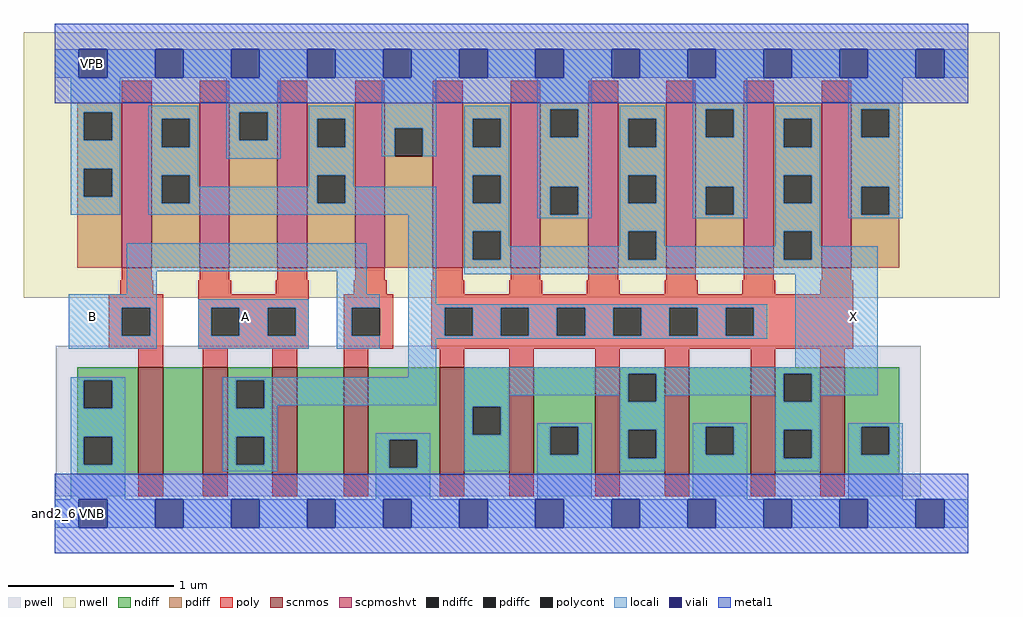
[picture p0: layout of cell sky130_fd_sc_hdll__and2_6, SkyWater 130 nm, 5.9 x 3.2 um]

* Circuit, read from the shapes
.subckt sky130_fd_sc_hdll__and2_6 A B VGND VNB VPB VPWR X
XM1 n1 B VGND VNB sky130_fd_pr__nfet_01v8 w=0.65 l=0.15
XM2 n2 A n1 VNB sky130_fd_pr__nfet_01v8 w=0.65 l=0.15
XM3 n3 A n2 VNB sky130_fd_pr__nfet_01v8 w=0.65 l=0.15
XM4 VGND B n3 VNB sky130_fd_pr__nfet_01v8 w=0.65 l=0.15
XM5 X n2 VGND VNB sky130_fd_pr__nfet_01v8 w=0.65 l=0.15 m=6
XM6 n2 B VPWR VPB sky130_fd_pr__pfet_01v8_hvt w=1 l=0.18 m=2
XM7 VPWR A n2 VPB sky130_fd_pr__pfet_01v8_hvt w=1 l=0.18 m=2
XM8 X n2 VPWR VPB sky130_fd_pr__pfet_01v8_hvt w=1 l=0.18 m=6
.ends

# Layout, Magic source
magic
tech sky130A
magscale 1 2
<< nwell >>
rect -38 261 1142 582
<< pwell >>
rect 1 21 1047 203
rect 29 -17 63 21
<< scnmos >>
rect 101 47 131 177
rect 179 47 209 177
rect 263 47 293 177
rect 349 47 379 177
rect 465 47 495 177
rect 549 47 579 177
rect 653 47 683 177
rect 737 47 767 177
rect 841 47 871 177
rect 925 47 955 177
<< scpmoshvt >>
rect 81 297 117 497
rect 175 297 211 497
rect 269 297 305 497
rect 363 297 399 497
rect 457 297 493 497
rect 551 297 587 497
rect 645 297 681 497
rect 739 297 775 497
rect 833 297 869 497
rect 927 297 963 497
<< ndiff >>
rect 27 161 101 177
rect 27 127 35 161
rect 69 127 101 161
rect 27 93 101 127
rect 27 59 35 93
rect 69 59 101 93
rect 27 47 101 59
rect 131 47 179 177
rect 209 161 263 177
rect 209 127 219 161
rect 253 127 263 161
rect 209 93 263 127
rect 209 59 219 93
rect 253 59 263 93
rect 209 47 263 59
rect 293 47 349 177
rect 379 89 465 177
rect 379 55 404 89
rect 438 55 465 89
rect 379 47 465 55
rect 495 129 549 177
rect 495 95 505 129
rect 539 95 549 129
rect 495 47 549 95
rect 579 105 653 177
rect 579 71 599 105
rect 633 71 653 105
rect 579 47 653 71
rect 683 169 737 177
rect 683 135 693 169
rect 727 135 737 169
rect 683 101 737 135
rect 683 67 693 101
rect 727 67 737 101
rect 683 47 737 67
rect 767 105 841 177
rect 767 71 787 105
rect 821 71 841 105
rect 767 47 841 71
rect 871 169 925 177
rect 871 135 881 169
rect 915 135 925 169
rect 871 101 925 135
rect 871 67 881 101
rect 915 67 925 101
rect 871 47 925 67
rect 955 105 1021 177
rect 955 71 975 105
rect 1009 71 1021 105
rect 955 47 1021 71
<< pdiff >>
rect 27 485 81 497
rect 27 451 35 485
rect 69 451 81 485
rect 27 417 81 451
rect 27 383 35 417
rect 69 383 81 417
rect 27 297 81 383
rect 117 477 175 497
rect 117 443 129 477
rect 163 443 175 477
rect 117 409 175 443
rect 117 375 129 409
rect 163 375 175 409
rect 117 297 175 375
rect 211 485 269 497
rect 211 451 223 485
rect 257 451 269 485
rect 211 297 269 451
rect 305 477 363 497
rect 305 443 317 477
rect 351 443 363 477
rect 305 409 363 443
rect 305 375 317 409
rect 351 375 363 409
rect 305 297 363 375
rect 399 466 457 497
rect 399 432 411 466
rect 445 432 457 466
rect 399 297 457 432
rect 493 477 551 497
rect 493 443 505 477
rect 539 443 551 477
rect 493 409 551 443
rect 493 375 505 409
rect 539 375 551 409
rect 493 341 551 375
rect 493 307 505 341
rect 539 307 551 341
rect 493 297 551 307
rect 587 489 645 497
rect 587 455 599 489
rect 633 455 645 489
rect 587 395 645 455
rect 587 361 599 395
rect 633 361 645 395
rect 587 297 645 361
rect 681 477 739 497
rect 681 443 693 477
rect 727 443 739 477
rect 681 409 739 443
rect 681 375 693 409
rect 727 375 739 409
rect 681 341 739 375
rect 681 307 693 341
rect 727 307 739 341
rect 681 297 739 307
rect 775 489 833 497
rect 775 455 787 489
rect 821 455 833 489
rect 775 395 833 455
rect 775 361 787 395
rect 821 361 833 395
rect 775 297 833 361
rect 869 477 927 497
rect 869 443 881 477
rect 915 443 927 477
rect 869 409 927 443
rect 869 375 881 409
rect 915 375 927 409
rect 869 341 927 375
rect 869 307 881 341
rect 915 307 927 341
rect 869 297 927 307
rect 963 489 1021 497
rect 963 455 975 489
rect 1009 455 1021 489
rect 963 395 1021 455
rect 963 361 975 395
rect 1009 361 1021 395
rect 963 297 1021 361
<< ndiffc >>
rect 35 127 69 161
rect 35 59 69 93
rect 219 127 253 161
rect 219 59 253 93
rect 404 55 438 89
rect 505 95 539 129
rect 599 71 633 105
rect 693 135 727 169
rect 693 67 727 101
rect 787 71 821 105
rect 881 135 915 169
rect 881 67 915 101
rect 975 71 1009 105
<< pdiffc >>
rect 35 451 69 485
rect 35 383 69 417
rect 129 443 163 477
rect 129 375 163 409
rect 223 451 257 485
rect 317 443 351 477
rect 317 375 351 409
rect 411 432 445 466
rect 505 443 539 477
rect 505 375 539 409
rect 505 307 539 341
rect 599 455 633 489
rect 599 361 633 395
rect 693 443 727 477
rect 693 375 727 409
rect 693 307 727 341
rect 787 455 821 489
rect 787 361 821 395
rect 881 443 915 477
rect 881 375 915 409
rect 881 307 915 341
rect 975 455 1009 489
rect 975 361 1009 395
<< poly >>
rect 81 497 117 523
rect 175 497 211 523
rect 269 497 305 523
rect 363 497 399 523
rect 457 497 493 523
rect 551 497 587 523
rect 645 497 681 523
rect 739 497 775 523
rect 833 497 869 523
rect 927 497 963 523
rect 81 282 117 297
rect 175 282 211 297
rect 269 282 305 297
rect 363 282 399 297
rect 457 282 493 297
rect 551 282 587 297
rect 645 282 681 297
rect 739 282 775 297
rect 833 282 869 297
rect 927 282 963 297
rect 79 265 119 282
rect 173 265 213 282
rect 267 265 307 282
rect 361 265 401 282
rect 455 265 495 282
rect 549 265 589 282
rect 643 265 683 282
rect 737 265 777 282
rect 831 265 871 282
rect 925 265 965 282
rect 65 249 131 265
rect 65 215 81 249
rect 115 215 131 249
rect 65 199 131 215
rect 173 249 307 265
rect 173 215 189 249
rect 223 215 257 249
rect 291 215 307 249
rect 173 199 307 215
rect 349 249 409 265
rect 349 215 359 249
rect 393 215 409 249
rect 349 199 409 215
rect 455 249 965 265
rect 455 215 471 249
rect 505 215 539 249
rect 573 215 607 249
rect 641 215 675 249
rect 709 215 743 249
rect 777 215 811 249
rect 845 215 965 249
rect 455 199 965 215
rect 101 177 131 199
rect 179 177 209 199
rect 263 177 293 199
rect 349 177 379 199
rect 465 177 495 199
rect 549 177 579 199
rect 653 177 683 199
rect 737 177 767 199
rect 841 177 871 199
rect 925 177 955 199
rect 101 21 131 47
rect 179 21 209 47
rect 263 21 293 47
rect 349 21 379 47
rect 465 21 495 47
rect 549 21 579 47
rect 653 21 683 47
rect 737 21 767 47
rect 841 21 871 47
rect 925 21 955 47
<< polycont >>
rect 81 215 115 249
rect 189 215 223 249
rect 257 215 291 249
rect 359 215 393 249
rect 471 215 505 249
rect 539 215 573 249
rect 607 215 641 249
rect 675 215 709 249
rect 743 215 777 249
rect 811 215 845 249
<< locali >>
rect 0 527 29 561
rect 63 527 121 561
rect 155 527 213 561
rect 247 527 305 561
rect 339 527 397 561
rect 431 527 489 561
rect 523 527 581 561
rect 615 527 673 561
rect 707 527 765 561
rect 799 527 857 561
rect 891 527 949 561
rect 983 527 1041 561
rect 1075 527 1104 561
rect 19 485 79 527
rect 19 451 35 485
rect 69 451 79 485
rect 19 417 79 451
rect 19 383 35 417
rect 69 383 79 417
rect 19 361 79 383
rect 113 477 173 493
rect 113 443 129 477
rect 163 443 173 477
rect 113 409 173 443
rect 207 485 273 527
rect 207 451 223 485
rect 257 451 273 485
rect 207 429 273 451
rect 307 477 361 493
rect 307 443 317 477
rect 351 443 361 477
rect 113 375 129 409
rect 163 395 173 409
rect 307 409 361 443
rect 395 466 461 527
rect 395 432 411 466
rect 445 432 461 466
rect 495 477 549 493
rect 495 443 505 477
rect 539 443 549 477
rect 307 395 317 409
rect 163 375 317 395
rect 351 395 361 409
rect 495 409 549 443
rect 351 375 461 395
rect 113 361 461 375
rect 87 293 377 327
rect 87 265 123 293
rect 17 249 123 265
rect 341 265 377 293
rect 17 215 81 249
rect 115 215 123 249
rect 17 199 123 215
rect 173 249 307 259
rect 173 215 189 249
rect 223 215 257 249
rect 291 215 307 249
rect 173 199 307 215
rect 341 249 393 265
rect 341 215 359 249
rect 341 199 393 215
rect 427 253 461 361
rect 495 375 505 409
rect 539 375 549 409
rect 495 341 549 375
rect 583 489 649 527
rect 583 455 599 489
rect 633 455 649 489
rect 583 395 649 455
rect 583 361 599 395
rect 633 361 649 395
rect 583 357 649 361
rect 683 477 737 493
rect 683 443 693 477
rect 727 443 737 477
rect 683 409 737 443
rect 683 375 693 409
rect 727 375 737 409
rect 495 307 505 341
rect 539 323 549 341
rect 683 341 737 375
rect 771 489 837 527
rect 771 455 787 489
rect 821 455 837 489
rect 771 395 837 455
rect 771 361 787 395
rect 821 361 837 395
rect 771 357 837 361
rect 871 477 925 493
rect 871 443 881 477
rect 915 443 925 477
rect 871 409 925 443
rect 871 375 881 409
rect 915 375 925 409
rect 683 323 693 341
rect 539 307 693 323
rect 727 323 737 341
rect 871 341 925 375
rect 959 489 1025 527
rect 959 455 975 489
rect 1009 455 1025 489
rect 959 395 1025 455
rect 959 361 975 395
rect 1009 361 1025 395
rect 959 357 1025 361
rect 871 323 881 341
rect 727 307 881 323
rect 915 323 925 341
rect 915 307 995 323
rect 495 289 995 307
rect 427 249 861 253
rect 427 215 471 249
rect 505 215 539 249
rect 573 215 607 249
rect 641 215 675 249
rect 709 215 743 249
rect 777 215 811 249
rect 845 215 861 249
rect 427 211 861 215
rect 427 165 461 211
rect 895 177 995 289
rect 19 161 85 165
rect 19 127 35 161
rect 69 127 85 161
rect 19 93 85 127
rect 19 59 35 93
rect 69 59 85 93
rect 19 17 85 59
rect 203 161 461 165
rect 203 127 219 161
rect 253 131 461 161
rect 495 169 995 177
rect 495 143 693 169
rect 253 127 269 131
rect 203 93 269 127
rect 495 129 549 143
rect 203 59 219 93
rect 253 59 269 93
rect 203 51 269 59
rect 388 89 454 97
rect 388 55 404 89
rect 438 55 454 89
rect 388 17 454 55
rect 495 95 505 129
rect 539 95 549 129
rect 683 135 693 143
rect 727 143 881 169
rect 727 135 737 143
rect 495 51 549 95
rect 583 105 649 109
rect 583 71 599 105
rect 633 71 649 105
rect 583 17 649 71
rect 683 101 737 135
rect 871 135 881 143
rect 915 143 995 169
rect 915 135 925 143
rect 683 67 693 101
rect 727 67 737 101
rect 683 51 737 67
rect 771 105 837 109
rect 771 71 787 105
rect 821 71 837 105
rect 771 17 837 71
rect 871 101 925 135
rect 871 67 881 101
rect 915 67 925 101
rect 871 51 925 67
rect 959 105 1025 109
rect 959 71 975 105
rect 1009 71 1025 105
rect 959 17 1025 71
rect 0 -17 29 17
rect 63 -17 121 17
rect 155 -17 213 17
rect 247 -17 305 17
rect 339 -17 397 17
rect 431 -17 489 17
rect 523 -17 581 17
rect 615 -17 673 17
rect 707 -17 765 17
rect 799 -17 857 17
rect 891 -17 949 17
rect 983 -17 1041 17
rect 1075 -17 1104 17
<< viali >>
rect 29 527 63 561
rect 121 527 155 561
rect 213 527 247 561
rect 305 527 339 561
rect 397 527 431 561
rect 489 527 523 561
rect 581 527 615 561
rect 673 527 707 561
rect 765 527 799 561
rect 857 527 891 561
rect 949 527 983 561
rect 1041 527 1075 561
rect 29 -17 63 17
rect 121 -17 155 17
rect 213 -17 247 17
rect 305 -17 339 17
rect 397 -17 431 17
rect 489 -17 523 17
rect 581 -17 615 17
rect 673 -17 707 17
rect 765 -17 799 17
rect 857 -17 891 17
rect 949 -17 983 17
rect 1041 -17 1075 17
<< metal1 >>
rect 0 561 1104 592
rect 0 527 29 561
rect 63 527 121 561
rect 155 527 213 561
rect 247 527 305 561
rect 339 527 397 561
rect 431 527 489 561
rect 523 527 581 561
rect 615 527 673 561
rect 707 527 765 561
rect 799 527 857 561
rect 891 527 949 561
rect 983 527 1041 561
rect 1075 527 1104 561
rect 0 496 1104 527
rect 0 17 1104 48
rect 0 -17 29 17
rect 63 -17 121 17
rect 155 -17 213 17
rect 247 -17 305 17
rect 339 -17 397 17
rect 431 -17 489 17
rect 523 -17 581 17
rect 615 -17 673 17
rect 707 -17 765 17
rect 799 -17 857 17
rect 891 -17 949 17
rect 983 -17 1041 17
rect 1075 -17 1104 17
rect 0 -48 1104 -17
<< labels >>
flabel locali s 949 221 983 255 0 FreeSans 340 0 0 0 X
port 7 nsew signal output
flabel locali s 29 221 63 255 0 FreeSans 340 0 0 0 B
port 2 nsew signal input
flabel locali s 213 221 247 255 0 FreeSans 340 0 0 0 A
port 1 nsew signal input
flabel pwell s 29 -17 63 17 0 FreeSans 200 0 0 0 VNB
port 4 nsew ground bidirectional
flabel nwell s 29 527 63 561 0 FreeSans 200 0 0 0 VPB
port 5 nsew power bidirectional
flabel metal1 s 29 -17 63 17 0 FreeSans 200 0 0 0 VGND
port 3 nsew ground bidirectional
flabel metal1 s 29 527 63 561 0 FreeSans 200 0 0 0 VPWR
port 6 nsew power bidirectional
rlabel comment s 0 0 0 0 4 and2_6
<< properties >>
string LEFsite unithd
string LEFclass CORE
string FIXED_BBOX 0 0 1104 544
string GDS_FILE $PDKPATH/libs.ref/sky130_fd_sc_hdll/gds/sky130_fd_sc_hdll.gds
string LEFsymmetry X Y R90
string GDS_END 3445934
string GDS_START 3437544
string LEFproperties maskLayoutSubType "abstract" prCellType "standard" originalViewName "layout"
<< end >>
